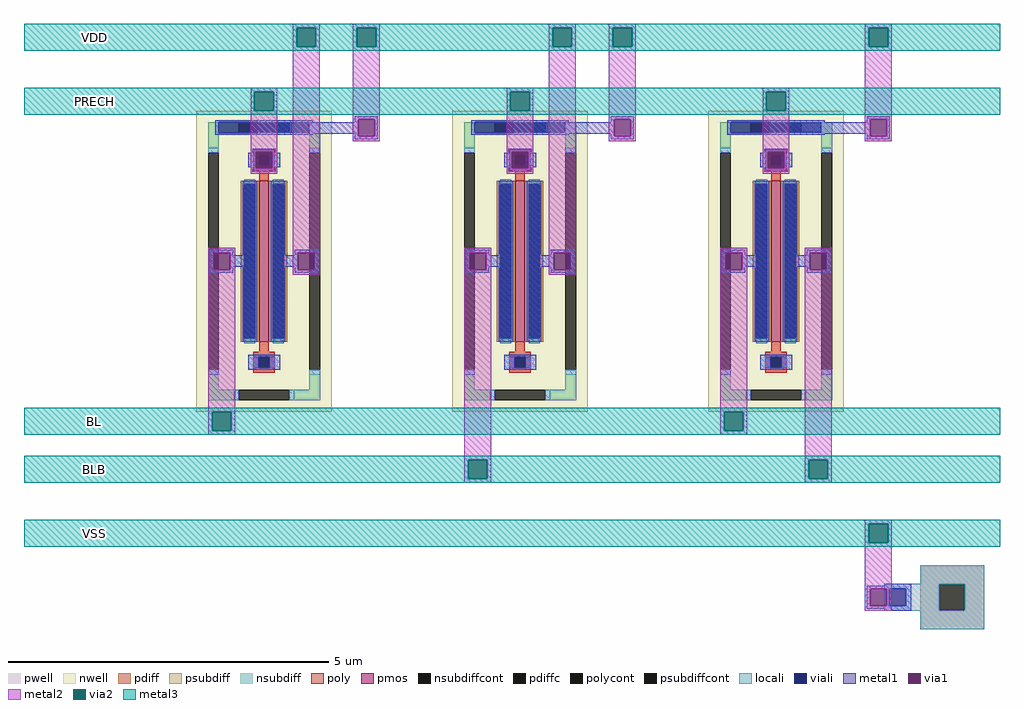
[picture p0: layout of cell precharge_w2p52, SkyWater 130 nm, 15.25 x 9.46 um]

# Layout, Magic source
magic
tech sky130A
magscale 1 2
<< pwell >>
rect 2350 -2150 2550 -1950
<< psubdiff >>
rect 2350 -2010 2550 -1950
rect 2350 -2090 2410 -2010
rect 2490 -2090 2550 -2010
rect 2350 -2150 2550 -2090
<< psubdiffcont >>
rect 2410 -2090 2490 -2010
<< locali >>
rect 2350 -2008 2550 -1950
rect 2238 -2010 2550 -2008
rect 2238 -2024 2410 -2010
rect 2238 -2076 2254 -2024
rect 2306 -2076 2410 -2024
rect 2238 -2090 2410 -2076
rect 2490 -2090 2550 -2010
rect 2238 -2092 2550 -2090
rect 2350 -2150 2550 -2092
<< viali >>
rect 2254 -2076 2306 -2024
<< metal1 >>
rect 584 -557 656 -547
rect 584 -565 594 -557
rect 280 -601 594 -565
rect 584 -609 594 -601
rect 646 -609 656 -557
rect 1384 -557 1456 -547
rect 1384 -565 1394 -557
rect 1080 -601 1394 -565
rect 584 -619 656 -609
rect 1384 -609 1394 -601
rect 1446 -609 1456 -557
rect 2184 -557 2256 -547
rect 2184 -565 2194 -557
rect 1880 -601 2194 -565
rect 1384 -619 1456 -609
rect 2184 -609 2194 -601
rect 2246 -609 2256 -557
rect 2184 -619 2256 -609
rect 264 -658 336 -648
rect 264 -710 274 -658
rect 326 -710 336 -658
rect 264 -720 336 -710
rect 1064 -658 1136 -648
rect 1064 -710 1074 -658
rect 1126 -710 1136 -658
rect 1064 -720 1136 -710
rect 1864 -658 1936 -648
rect 1864 -710 1874 -658
rect 1926 -710 1936 -658
rect 1864 -720 1936 -710
rect 132 -974 204 -964
rect 132 -1026 142 -974
rect 194 -982 204 -974
rect 233 -982 279 -748
rect 194 -1018 279 -982
rect 194 -1026 204 -1018
rect 132 -1036 204 -1026
rect 233 -1252 279 -1018
rect 321 -982 367 -748
rect 396 -974 468 -964
rect 396 -982 406 -974
rect 321 -1018 406 -982
rect 321 -1252 367 -1018
rect 396 -1026 406 -1018
rect 458 -1026 468 -974
rect 396 -1036 468 -1026
rect 932 -974 1004 -964
rect 932 -1026 942 -974
rect 994 -982 1004 -974
rect 1033 -982 1079 -748
rect 994 -1018 1079 -982
rect 994 -1026 1004 -1018
rect 932 -1036 1004 -1026
rect 1033 -1252 1079 -1018
rect 1121 -982 1167 -748
rect 1196 -974 1268 -964
rect 1196 -982 1206 -974
rect 1121 -1018 1206 -982
rect 1121 -1252 1167 -1018
rect 1196 -1026 1206 -1018
rect 1258 -1026 1268 -974
rect 1196 -1036 1268 -1026
rect 1732 -974 1804 -964
rect 1732 -1026 1742 -974
rect 1794 -982 1804 -974
rect 1833 -982 1879 -748
rect 1794 -1018 1879 -982
rect 1794 -1026 1804 -1018
rect 1732 -1036 1804 -1026
rect 1833 -1252 1879 -1018
rect 1921 -982 1967 -748
rect 1996 -974 2068 -964
rect 1996 -982 2006 -974
rect 1921 -1018 2006 -982
rect 1921 -1252 1967 -1018
rect 1996 -1026 2006 -1018
rect 2058 -1026 2068 -974
rect 1996 -1036 2068 -1026
rect 2238 -2014 2322 -2008
rect 2184 -2024 2322 -2014
rect 2184 -2076 2194 -2024
rect 2246 -2076 2254 -2024
rect 2306 -2076 2322 -2024
rect 2184 -2086 2322 -2076
rect 2238 -2092 2322 -2086
<< via1 >>
rect 594 -609 646 -557
rect 1394 -609 1446 -557
rect 2194 -609 2246 -557
rect 274 -710 326 -658
rect 1074 -710 1126 -658
rect 1874 -710 1926 -658
rect 142 -1026 194 -974
rect 406 -1026 458 -974
rect 942 -1026 994 -974
rect 1206 -1026 1258 -974
rect 1742 -1026 1794 -974
rect 2006 -1026 2058 -974
rect 2194 -2076 2246 -2024
<< metal2 >>
rect 390 -270 474 -258
rect 390 -330 402 -270
rect 462 -330 474 -270
rect 258 -470 342 -458
rect 258 -530 270 -470
rect 330 -530 342 -470
rect 258 -658 342 -530
rect 258 -710 274 -658
rect 326 -710 342 -658
rect 258 -726 342 -710
rect 126 -974 210 -958
rect 126 -1026 142 -974
rect 194 -1026 210 -974
rect 126 -1470 210 -1026
rect 390 -974 474 -330
rect 578 -270 662 -258
rect 578 -330 590 -270
rect 650 -330 662 -270
rect 578 -557 662 -330
rect 1190 -270 1274 -258
rect 1190 -330 1202 -270
rect 1262 -330 1274 -270
rect 578 -609 594 -557
rect 646 -609 662 -557
rect 578 -625 662 -609
rect 1058 -470 1142 -458
rect 1058 -530 1070 -470
rect 1130 -530 1142 -470
rect 1058 -658 1142 -530
rect 1058 -710 1074 -658
rect 1126 -710 1142 -658
rect 1058 -726 1142 -710
rect 390 -1026 406 -974
rect 458 -1026 474 -974
rect 390 -1042 474 -1026
rect 926 -974 1010 -958
rect 926 -1026 942 -974
rect 994 -1026 1010 -974
rect 126 -1530 138 -1470
rect 198 -1530 210 -1470
rect 126 -1542 210 -1530
rect 926 -1620 1010 -1026
rect 1190 -974 1274 -330
rect 1378 -270 1462 -258
rect 1378 -330 1390 -270
rect 1450 -330 1462 -270
rect 1378 -557 1462 -330
rect 2178 -270 2262 -258
rect 2178 -330 2190 -270
rect 2250 -330 2262 -270
rect 1378 -609 1394 -557
rect 1446 -609 1462 -557
rect 1378 -625 1462 -609
rect 1858 -470 1942 -458
rect 1858 -530 1870 -470
rect 1930 -530 1942 -470
rect 1858 -658 1942 -530
rect 2178 -557 2262 -330
rect 2178 -609 2194 -557
rect 2246 -609 2262 -557
rect 2178 -625 2262 -609
rect 1858 -710 1874 -658
rect 1926 -710 1942 -658
rect 1858 -726 1942 -710
rect 1190 -1026 1206 -974
rect 1258 -1026 1274 -974
rect 1190 -1042 1274 -1026
rect 1726 -974 1810 -958
rect 1726 -1026 1742 -974
rect 1794 -1026 1810 -974
rect 1726 -1470 1810 -1026
rect 1726 -1530 1738 -1470
rect 1798 -1530 1810 -1470
rect 1726 -1542 1810 -1530
rect 1990 -974 2074 -958
rect 1990 -1026 2006 -974
rect 2058 -1026 2074 -974
rect 926 -1680 938 -1620
rect 998 -1680 1010 -1620
rect 926 -1692 1010 -1680
rect 1990 -1620 2074 -1026
rect 1990 -1680 2002 -1620
rect 2062 -1680 2074 -1620
rect 1990 -1692 2074 -1680
rect 2178 -1820 2262 -1808
rect 2178 -1880 2190 -1820
rect 2250 -1880 2262 -1820
rect 2178 -2024 2262 -1880
rect 2178 -2076 2194 -2024
rect 2246 -2076 2262 -2024
rect 2178 -2092 2262 -2076
<< via2 >>
rect 402 -330 462 -270
rect 270 -530 330 -470
rect 590 -330 650 -270
rect 1202 -330 1262 -270
rect 1070 -530 1130 -470
rect 138 -1530 198 -1470
rect 1390 -330 1450 -270
rect 2190 -330 2250 -270
rect 1870 -530 1930 -470
rect 1738 -1530 1798 -1470
rect 938 -1680 998 -1620
rect 2002 -1680 2062 -1620
rect 2190 -1880 2250 -1820
<< metal3 >>
rect -450 -270 2600 -258
rect -450 -330 402 -270
rect 462 -330 590 -270
rect 650 -330 1202 -270
rect 1262 -330 1390 -270
rect 1450 -330 2190 -270
rect 2250 -330 2600 -270
rect -450 -342 2600 -330
rect -450 -470 2600 -458
rect -450 -530 270 -470
rect 330 -530 1070 -470
rect 1130 -530 1870 -470
rect 1930 -530 2600 -470
rect -450 -542 2600 -530
rect -450 -1470 2600 -1458
rect -450 -1530 138 -1470
rect 198 -1530 1738 -1470
rect 1798 -1530 2600 -1470
rect -450 -1542 2600 -1530
rect -450 -1620 2600 -1608
rect -450 -1680 938 -1620
rect 998 -1680 2002 -1620
rect 2062 -1680 2600 -1620
rect -450 -1692 2600 -1680
rect -450 -1820 2600 -1808
rect -450 -1880 2190 -1820
rect 2250 -1880 2600 -1820
rect -450 -1892 2600 -1880
use sky130_fd_pr__pfet_01v8_EF4V8X  XMEQ
transform 1 0 1900 0 1 -1000
box -211 -471 211 471
use sky130_fd_pr__pfet_01v8_EF4V8X  XMPBL
transform 1 0 300 0 1 -1000
box -211 -471 211 471
use sky130_fd_pr__pfet_01v8_EF4V8X  XMPBLB
transform 1 0 1100 0 1 -1000
box -211 -471 211 471
<< labels >>
rlabel metal3 -255 -325 -205 -275 0 VDD
port 0 n
rlabel metal3 -255 -1525 -205 -1475 0 BL
port 1 n
rlabel metal3 -255 -1675 -205 -1625 0 BLB
port 2 n
rlabel metal3 -255 -525 -205 -475 0 PRECH
port 3 n
rlabel metal3 -255 -1875 -205 -1825 0 VSS
port 4 n
<< end >>

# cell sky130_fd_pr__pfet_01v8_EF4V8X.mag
magic
tech sky130A
magscale 1 2
<< nwell >>
rect -211 -471 211 471
<< pmos >>
rect -15 -252 15 252
<< pdiff >>
rect -73 240 -15 252
rect -73 -240 -61 240
rect -27 -240 -15 240
rect -73 -252 -15 -240
rect 15 240 73 252
rect 15 -240 27 240
rect 61 -240 73 240
rect 15 -252 73 -240
<< pdiffc >>
rect -61 -240 -27 240
rect 27 -240 61 240
<< nsubdiff >>
rect -175 401 -79 435
rect 79 401 175 435
rect -175 339 -141 401
rect 141 339 175 401
rect -175 -401 -141 -339
rect 141 -401 175 -339
rect -175 -435 -79 -401
rect 79 -435 175 -401
<< nsubdiffcont >>
rect -79 401 79 435
rect -175 -339 -141 339
rect 141 -339 175 339
rect -79 -435 79 -401
<< poly >>
rect -33 333 33 349
rect -33 299 -17 333
rect 17 299 33 333
rect -33 283 33 299
rect -15 252 15 283
rect -15 -283 15 -252
rect -33 -299 33 -283
rect -33 -333 -17 -299
rect 17 -333 33 -299
rect -33 -349 33 -333
<< polycont >>
rect -17 299 17 333
rect -17 -333 17 -299
<< locali >>
rect -175 339 -141 355
rect 141 339 175 355
rect -33 299 -17 333
rect 17 299 33 333
rect -61 240 -27 256
rect -61 -256 -27 -240
rect 27 240 61 256
rect 27 -256 61 -240
rect -33 -333 -17 -299
rect 17 -333 33 -299
rect -175 -355 -141 -339
rect 141 -355 175 -339
rect -95 -435 -79 -401
rect 79 -435 95 -401
<< viali >>
rect -141 401 -79 435
rect -79 401 79 435
rect 79 401 141 435
rect -17 299 17 333
rect -61 -240 -27 240
rect 27 -240 61 240
rect -17 -333 17 -299
<< metal1 >>
rect -153 435 153 441
rect -153 401 -141 435
rect 141 401 153 435
rect -153 395 153 401
rect -50 333 50 339
rect -50 299 -17 333
rect 17 299 50 333
rect -50 293 50 299
rect -67 240 -21 252
rect -67 -240 -61 240
rect -27 -240 -21 240
rect -67 -252 -21 -240
rect 21 240 67 252
rect 21 -240 27 240
rect 61 -240 67 240
rect 21 -252 67 -240
rect -50 -299 50 -293
rect -50 -333 -17 -299
rect 17 -333 50 -299
rect -50 -339 50 -333
<< properties >>
string FIXED_BBOX -158 -418 158 418
string library sky130
string parameters w 2.52 l 0.15 m 1 nf 1 diffcov 100 polycov 100 guard 1 glc 1 grc 1 gtc 1 gbc 1 tbcov 100 rlcov 100 topc 1 botc 1 poverlap 0 doverlap 1 lmin 0.15 wmin 0.42 class mosfet compatible {sky130_fd_pr__pfet_01v8  sky130_fd_pr__pfet_01v8_lvt sky130_fd_pr__pfet_01v8_hvt  sky130_fd_pr__pfet_g5v0d10v5} full_metal 0 viasrc 100 viadrn 100 viagate 100 viagb 0 viagr 0 viagl 0 viagt 100
<< end >>
